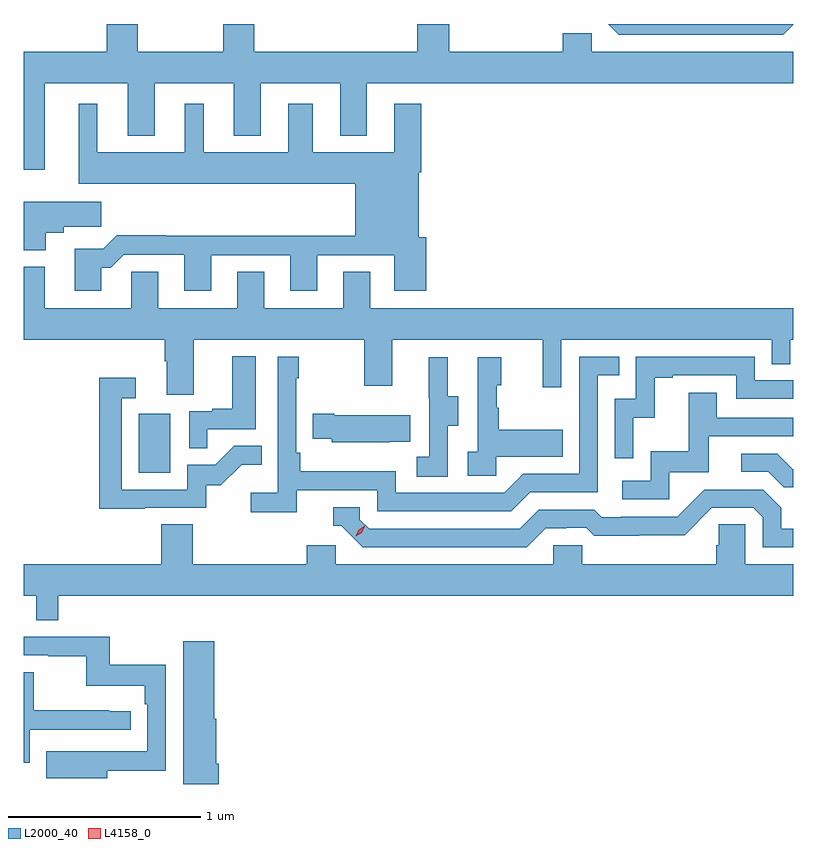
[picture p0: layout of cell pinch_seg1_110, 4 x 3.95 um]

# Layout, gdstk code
import gdstk
lib = gdstk.Library(unit=1e-6, precision=1e-09)
def R(c, l, rs):  # rectangles x0, y0, x1, y1
    for r in rs: c.add(gdstk.rectangle(r[:2], r[2:], *l))
def P(c, l, *ps):  # polygons
    for p in ps: c.add(gdstk.Polygon(p, *l))
L2000_40 = (2000, 40)
L4158_0 = (4158, 0)

pinch_seg1_110 = lib.new_cell('pinch_seg1_110')
R(pinch_seg1_110, L2000_40, [(1077.074,552.372,1077.238,552.679)])
P(pinch_seg1_110, L2000_40, [(1076.587,554.396),(1077.017,554.396),(1077.017,554.123),(1077.157,554.123),(1077.157,554.396),(1077.569,554.396),(1077.569,554.123),(1077.709,554.123),(1077.709,554.396),(1078.121,554.396),(1078.121,554.123),(1078.261,554.123),(1078.261,554.396),(1080.477,554.396),(1080.477,554.56),(1079.43,554.56),(1079.43,554.658),(1079.279,554.658),(1079.279,554.56),(1078.688,554.56),(1078.688,554.705),(1078.523,554.705),(1078.523,554.56),(1077.674,554.56),(1077.674,554.705),(1077.514,554.705),(1077.514,554.56),(1077.069,554.56),(1077.069,554.705),(1076.909,554.705),(1076.909,554.56),(1076.477,554.56),(1076.477,553.947),(1076.587,553.947)],
  [(1080.477,554.702),(1080.477,554.705),(1079.515,554.705),(1079.571,554.649),(1080.424,554.649)],
  [(1076.881,553.439),(1076.93,553.439),(1076.997,553.506),(1077.311,553.506),(1077.311,553.317),(1077.451,553.317),(1077.451,553.503),(1077.863,553.503),(1077.863,553.317),(1078.003,553.317),(1078.003,553.503),(1078.403,553.503),(1078.403,553.317),(1078.568,553.317),(1078.568,553.596),(1078.531,553.596),(1078.531,553.934),(1078.544,553.934),(1078.544,554.29),(1078.403,554.29),(1078.403,554.038),(1077.979,554.038),(1077.979,554.29),(1077.851,554.29),(1077.851,554.038),(1077.412,554.038),(1077.412,554.29),(1077.314,554.29),(1077.314,554.038),(1076.86,554.038),(1076.86,554.29),(1076.762,554.29),(1076.762,553.874),(1078.199,553.874),(1078.199,553.604),(1077.215,553.604),(1077.215,553.607),(1076.96,553.607),(1076.89,553.537),(1076.741,553.537),(1076.741,553.317),(1076.881,553.317)],
  [(1076.59,553.619),(1076.686,553.619),(1076.686,553.651),(1076.881,553.651),(1076.881,553.78),(1076.477,553.78),(1076.477,553.529),(1076.59,553.529)],
  [(1077.361,553.064),(1078.246,553.064),(1078.246,552.825),(1078.393,552.825),(1078.393,553.064),(1079.174,553.064),(1079.174,552.816),(1079.271,552.816),(1079.271,553.064),(1080.366,553.064),(1080.366,552.937),(1080.462,552.937),(1080.462,553.064),(1080.477,553.064),(1080.477,553.228),(1078.279,553.228),(1078.279,553.418),(1078.139,553.418),(1078.139,553.228),(1077.727,553.228),(1077.727,553.418),(1077.587,553.418),(1077.587,553.228),(1077.175,553.228),(1077.175,553.418),(1077.036,553.418),(1077.036,553.228),(1076.587,553.228),(1076.587,553.444),(1076.477,553.444),(1076.477,553.064),(1077.209,553.064),(1077.209,552.952),(1077.221,552.952),(1077.221,552.778),(1077.361,552.778)],
  [(1077.431,552.597),(1077.682,552.597),(1077.682,552.979),(1077.56,552.979),(1077.56,552.706),(1077.457,552.706),(1077.457,552.693),(1077.336,552.693),(1077.336,552.499),(1077.431,552.499)],
  [(1077.896,552.282),(1078.314,552.282),(1078.314,552.171),(1079.011,552.171),(1079.11,552.27),(1079.46,552.27),(1079.46,552.879),(1079.573,552.879),(1079.573,552.975),(1079.364,552.975),(1079.364,552.366),(1079.073,552.366),(1078.974,552.267),(1078.41,552.267),(1078.41,552.379),(1077.914,552.379),(1077.914,552.475),(1077.894,552.475),(1077.894,552.863),(1077.907,552.863),(1077.907,552.976),(1077.798,552.976),(1077.798,552.268),(1077.657,552.268),(1077.657,552.166),(1077.896,552.166)],
  [(1079.646,552.659),(1079.756,552.659),(1079.756,552.867),(1079.851,552.867),(1079.851,552.879),(1080.18,552.879),(1080.18,552.756),(1080.477,552.756),(1080.477,552.852),(1080.276,552.852),(1080.276,552.975),(1079.658,552.975),(1079.658,552.756),(1079.55,552.756),(1079.55,552.447),(1079.646,552.447)],
  [(1078.68,552.616),(1078.735,552.616),(1078.735,552.771),(1078.681,552.771),(1078.681,552.973),(1078.583,552.973),(1078.583,552.759),(1078.584,552.759),(1078.584,552.455),(1078.521,552.455),(1078.521,552.352),(1078.68,552.352)],
  [(1078.932,552.455),(1079.279,552.455),(1079.279,552.595),(1078.945,552.595),(1078.945,552.71),(1078.935,552.71),(1078.935,552.828),(1078.96,552.828),(1078.96,552.973),(1078.836,552.973),(1078.836,552.482),(1078.785,552.482),(1078.785,552.357),(1078.932,552.357)],
  [(1077.107,552.189),(1077.426,552.189),(1077.426,552.306),(1077.502,552.306),(1077.609,552.413),(1077.713,552.413),(1077.713,552.512),(1077.57,552.512),(1077.472,552.414),(1077.327,552.414),(1077.327,552.285),(1076.985,552.285),(1076.985,552.759),(1077.058,552.759),(1077.058,552.865),(1076.869,552.865),(1076.869,552.184),(1077.107,552.184)],
  [(1079.832,552.375),(1080.037,552.375),(1080.037,552.561),(1080.477,552.561),(1080.477,552.657),(1080.079,552.657),(1080.079,552.787),(1079.935,552.787),(1079.935,552.484),(1079.736,552.484),(1079.736,552.33),(1079.589,552.33),(1079.589,552.234),(1079.832,552.234)],
  [(1078.379,552.533),(1078.487,552.533),(1078.487,552.67),(1078.09,552.67),(1078.09,552.678),(1077.979,552.678),(1077.979,552.548),(1078.077,552.548),(1078.077,552.53),(1078.379,552.53)],
  [(1080.477,552.39),(1080.475,552.39),(1080.394,552.471),(1080.207,552.471),(1080.207,552.378),(1080.348,552.378),(1080.428,552.298),(1080.477,552.298)],
  [(1079.191,552.084),(1079.298,552.084),(1079.298,552.087),(1079.401,552.087),(1079.443,552.045),(1079.676,552.045),(1079.676,552.047),(1079.912,552.047),(1080.054,552.189),(1080.27,552.189),(1080.318,552.141),(1080.318,551.985),(1080.477,551.985),(1080.477,552.081),(1080.415,552.081),(1080.415,552.191),(1080.321,552.285),(1080.015,552.285),(1079.874,552.144),(1079.581,552.144),(1079.581,552.141),(1079.482,552.141),(1079.443,552.18),(1079.154,552.18),(1079.055,552.081),(1078.272,552.081),(1078.224,552.129),(1078.224,552.192),(1078.085,552.192),(1078.085,552.096),(1078.128,552.096),(1078.239,551.985),(1079.092,551.985)],
  [(1076.657,551.732),(1080.477,551.732),(1080.477,551.896),(1080.228,551.896),(1080.228,552.104),(1080.091,552.104),(1080.091,551.994),(1080.077,551.994),(1080.077,551.896),(1079.379,551.896),(1079.379,551.994),(1079.229,551.994),(1079.229,551.896),(1078.098,551.896),(1078.098,551.994),(1077.947,551.994),(1077.947,551.896),(1077.356,551.896),(1077.356,552.104),(1077.191,552.104),(1077.191,551.896),(1076.477,551.896),(1076.477,551.732),(1076.541,551.732),(1076.541,551.605),(1076.657,551.605)],
  [(1076.911,550.822),(1077.216,550.822),(1077.216,551.374),(1076.923,551.374),(1076.923,551.52),(1076.477,551.52),(1076.477,551.424),(1076.605,551.424),(1076.605,551.419),(1076.802,551.419),(1076.802,551.264),(1077.107,551.264),(1077.107,551.168),(1077.12,551.168),(1077.12,550.923),(1076.807,550.923),(1076.807,550.924),(1076.593,550.924),(1076.593,550.784),(1076.911,550.784)],
  [(1077.491,550.858),(1077.478,550.858),(1077.478,551.094),(1077.466,551.094),(1077.466,551.497),(1077.305,551.497),(1077.305,550.754),(1077.491,550.754)],
  [(1076.508,551.037),(1077.034,551.037),(1077.034,551.133),(1076.921,551.133),(1076.921,551.138),(1076.528,551.138),(1076.528,551.334),(1076.477,551.334),(1076.477,550.865),(1076.508,550.865)])
P(pinch_seg1_110, L4158_0, [(1078.202,552.042),(1078.202,552.042),(1078.218,552.075),(1078.248,552.094),(1078.249,552.094),(1078.249,552.094),(1078.233,552.061),(1078.202,552.042)])

lib.write_gds('pinch_seg1_110.gds')
